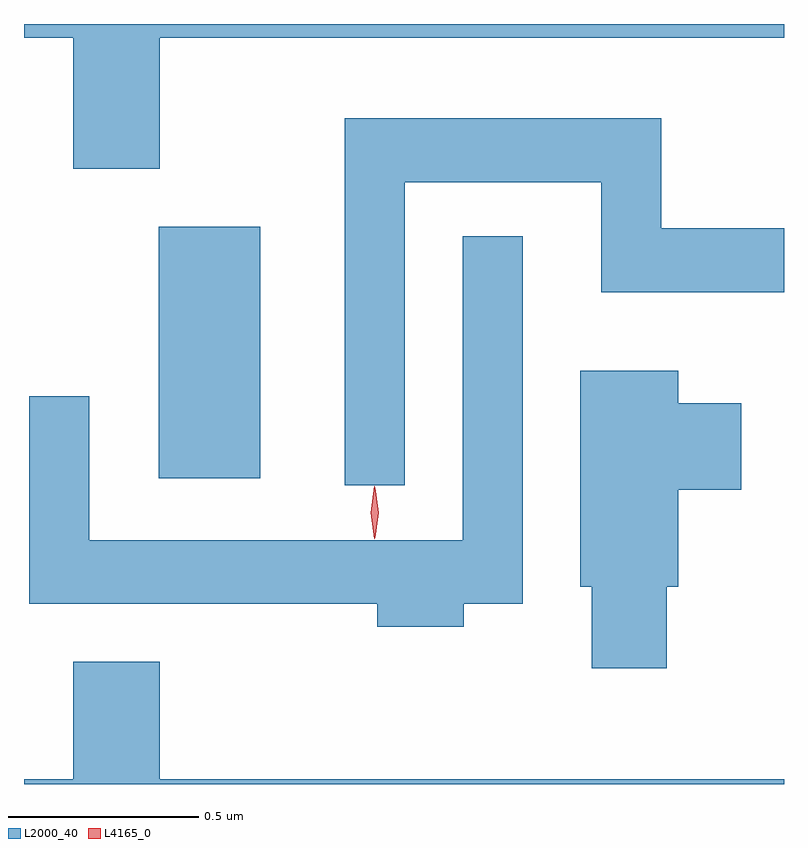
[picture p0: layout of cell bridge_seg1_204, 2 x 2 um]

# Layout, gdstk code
import gdstk
lib = gdstk.Library(unit=1e-6, precision=1e-09)
def R(c, l, rs):  # rectangles x0, y0, x1, y1
    for r in rs: c.add(gdstk.rectangle(r[:2], r[2:], *l))
def P(c, l, *ps):  # polygons
    for p in ps: c.add(gdstk.Polygon(p, *l))
L2000_40 = (2000, 40)
L4165_0 = (4165, 0)

bridge_seg1_204 = lib.new_cell('bridge_seg1_204')
R(bridge_seg1_204, L2000_40, [(797.276,931.716,797.544,932.379)])
P(bridge_seg1_204, L2000_40, [(797.279,932.876),(798.922,932.876),(798.922,932.912),(796.922,932.912),(796.922,932.876),(797.051,932.876),(797.051,932.531),(797.279,932.531)],
  [(797.924,932.496),(798.441,932.496),(798.441,932.206),(798.922,932.206),(798.922,932.374),(798.599,932.374),(798.599,932.664),(797.766,932.664),(797.766,931.698),(797.924,931.698)],
  [(798.079,931.386),(798.234,931.386),(798.234,932.353),(798.076,932.353),(798.076,931.554),(797.094,931.554),(797.094,931.933),(796.936,931.933),(796.936,931.386),(797.851,931.386),(797.851,931.326),(798.079,931.326)],
  [(798.614,931.431),(798.644,931.431),(798.644,931.686),(798.809,931.686),(798.809,931.914),(798.644,931.914),(798.644,931.999),(798.386,931.999),(798.386,931.431),(798.416,931.431),(798.416,931.216),(798.614,931.216)],
  [(798.922,930.924),(797.279,930.924),(797.279,931.234),(797.051,931.234),(797.051,930.924),(796.922,930.924),(796.922,930.912),(798.922,930.912)])
P(bridge_seg1_204, L4165_0, [(797.845,931.56),(797.835,931.626),(797.845,931.692),(797.845,931.693),(797.846,931.692),(797.855,931.626),(797.846,931.56),(797.846,931.56)],
  [(797.844,931.557),(797.835,931.626),(797.844,931.696),(797.845,931.696),(797.845,931.696),(797.855,931.626),(797.845,931.557),(797.845,931.557)])

lib.write_gds('bridge_seg1_204.gds')
